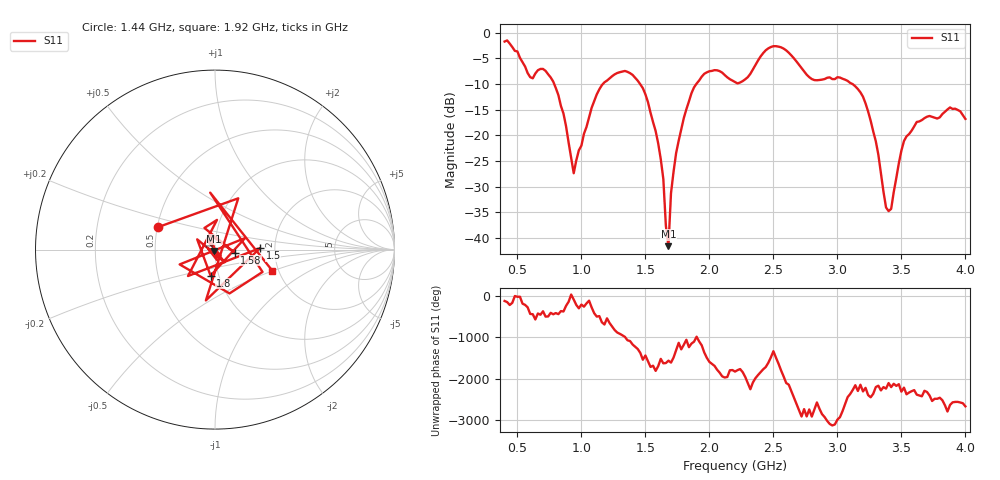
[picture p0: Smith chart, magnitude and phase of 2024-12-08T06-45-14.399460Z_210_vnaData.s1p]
!Created with skrf (http://scikit-rf.org).
# Hz S RI R 50.0
!freq ReS11 ImS11
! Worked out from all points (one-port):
!   181 points, 400 MHz to 4 GHz, reference 50 ohm
!   lowest |S11| = -41.5 dB at 1.68 GHz (marker M1), VSWR 1.02, Z = 49.5 - j0.696 ohm
!   |S11| at or under -10 dB: 787.2 MHz to 1.169 GHz (381.3 MHz wide, 39 % of centre); 1.458 GHz to 1.898 GHz (440.2 MHz wide, 26.2 % of centre); 3.116 GHz to end of sweep
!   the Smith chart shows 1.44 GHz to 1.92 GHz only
!   S11 on the Smith chart (normalised r, x): 1.44 GHz: 0.51, +0.14; 1.5 GHz: 1.67, +0.03; 1.58 GHz: 1.24, -0.04; 1.8 GHz: 0.91, -0.27; 1.92 GHz: 1.86, -0.50
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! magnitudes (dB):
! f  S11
! 400 MHz  -1.8
! 600 MHz  -8.7
! 720 MHz  -7.5
! 860 MHz  -15.8
! 940 MHz  -27.4
! 1.12 GHz  -12.0
! 1.3 GHz  -7.7
! 1.44 GHz  -9.4
! 1.5 GHz  -12.0
! 1.58 GHz  -19.2
! 1.64 GHz  -28.5
! 1.66 GHz  -37.6
! 1.68 GHz  -41.5
! 1.7 GHz  -31.2
! 1.76 GHz  -21.0
! 1.8 GHz  -16.6
! 1.92 GHz  -9.3
! 2.2 GHz  -9.6
! 2.48 GHz  -2.8
! 2.66 GHz  -5.0
! 2.8 GHz  -9.1
! 3.1 GHz  -9.8
! 3.24 GHz  -15.4
! 3.4 GHz  -34.7
! 3.5 GHz  -23.0
! 3.56 GHz  -19.8
! 3.88 GHz  -14.6
! 4 GHz  -16.8
